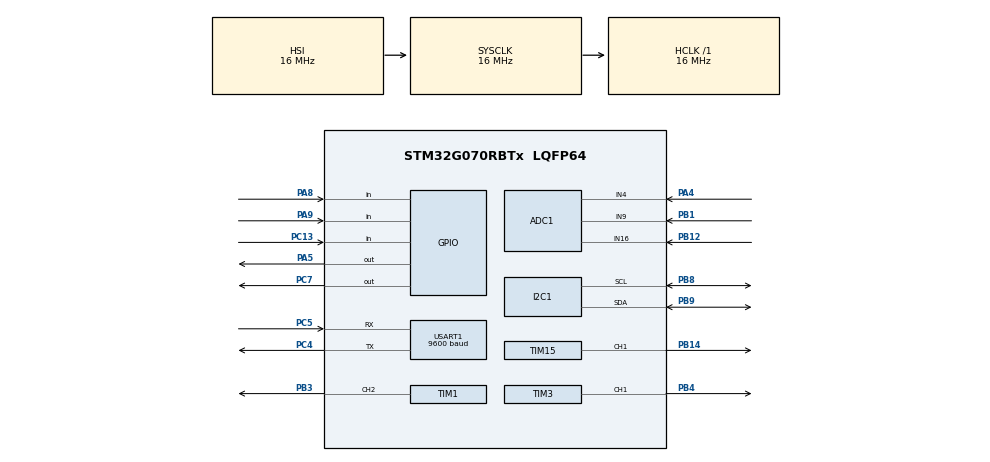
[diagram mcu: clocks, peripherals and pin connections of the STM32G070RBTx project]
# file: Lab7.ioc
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ADC1.DiscontinuousConvMode=ENABLE
ADC1.NbrOfConversion=1
ADC1.NbrOfConversionFlag=0
ADC1.SelectedChannel=ADC_CHANNEL_4|ADC_CHANNEL_9|ADC_CHANNEL_16
ADC1.Sequencer=NOT_FULLY_CONFIGURABLE
ADC1.master=1
Mcu.Family=STM32G0
Mcu.Name=STM32G070RBTx
Mcu.Package=LQFP64
NVIC.ADC1_IRQn=true\:0\:0\:false\:false\:true\:true\:true
NVIC.USART1_IRQn=true\:0\:0\:false\:false\:true\:true\:true
PA4.Mode=IN4
PA4.Signal=ADC1_IN4
PA5.Signal=GPIO_Output
PA8.Signal=GPIO_Input
PA9.Signal=GPIO_Input
PB1.Mode=IN9
PB1.Signal=ADC1_IN9
PB12.Mode=IN16
PB12.Signal=ADC1_IN16
PB14.Signal=S_TIM15_CH1
PB3.Signal=S_TIM1_CH2
PB4.Signal=S_TIM3_CH1
PB8.Mode=I2C
PB8.Signal=I2C1_SCL
PB9.Mode=I2C
PB9.Signal=I2C1_SDA
PC13.Signal=GPIO_Input
PC4.Mode=Asynchronous
PC4.Signal=USART1_TX
PC5.Mode=Asynchronous
PC5.Signal=USART1_RX
PC7.Signal=GPIO_Output
ProjectManager.HeapSize=0x200
ProjectManager.StackSize=0x400
ProjectManager.TargetToolchain=EWARM V8.32
RCC.AHBFreq_Value=16000000
RCC.CortexFreq_Value=16000000
RCC.EXTERNAL_CLOCK_VALUE=48000
RCC.HCLKFreq_Value=16000000
RCC.HSE_VALUE=8000000
RCC.HSI_VALUE=16000000
RCC.LSE_VALUE=32768
RCC.SYSCLKFreq_VALUE=16000000
RCC.VCOOutputFreq_Value=128000000
SH.S_TIM15_CH1.0=TIM15_CH1,PWM Generation1 CH1
SH.S_TIM1_CH2.0=TIM1_CH2,PWM Generation2 CH2
SH.S_TIM3_CH1.0=TIM3_CH1,PWM Generation1 CH1
TIM1.Channel-PWM\ Generation2\ CH2=TIM_CHANNEL_2
TIM15.Channel-PWM\ Generation1\ CH1=TIM_CHANNEL_1
TIM3.Channel-PWM\ Generation1\ CH1=TIM_CHANNEL_1
USART1.BaudRate=9600
USART1.VirtualMode-Asynchronous=VM_ASYNC
VP_SYS_VS_DBSignals.Mode=DisableDeadBatterySignals
VP_TIM15_VS_ClockSourceINT.Mode=Internal
VP_TIM1_VS_ClockSourceINT.Mode=Internal
VP_TIM3_VS_ClockSourceINT.Mode=Internal
board=custom

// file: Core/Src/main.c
/* USER CODE BEGIN Header */
/**
  ******************************************************************************
  * @file           : main.c
  * @brief          : Main program body
  ******************************************************************************
  * @attention
  *
  * <h2><center>&copy; Copyright (c) 2021 STMicroelectronics.
  * All rights reserved.</center></h2>
  *
  * This software component is licensed by ST under BSD 3-Clause license,
  * the "License"; You may not use this file except in compliance with the
  * License. You may obtain a copy of the License at:
  *                        opensource.org/licenses/BSD-3-Clause
  *
  ******************************************************************************
  */
/* USER CODE END Header */
#include "main.h"

/* USER CODE BEGIN Includes */
#include "KeyboardHoldRepeat.h"
#include "waveform_16.h"
#include "serial.h"
#include "serial_user.h"
#include "fonts.h"
#include "ssd1306.h"
#include "ux_manager.h"
#include "Thermistor.h"

/* USER CODE END Includes */

ADC_HandleTypeDef hadc1;

I2C_HandleTypeDef hi2c1;

TIM_HandleTypeDef htim1;
TIM_HandleTypeDef htim3;
TIM_HandleTypeDef htim15;

UART_HandleTypeDef huart1;

/* USER CODE BEGIN PV */
// scheduler stuff
extern uint8_t ten_mS_Flag;
extern uint8_t twentyfive_mS_Flag;
extern uint8_t hundred_mS_Flag;
extern uint8_t one_S_Flag;
#define FIVE_SEC_SEED 5
uint8_t five_S_Counter = FIVE_SEC_SEED;

// LED Control
TIM_OC_InitTypeDef rConfigOC = {0}; // timer 1
TIM_OC_InitTypeDef gConfigOC = {0}; // timer 3
TIM_OC_InitTypeDef bConfigOC = {0}; // timer 15

#define LED_RAMP_TABLE half_sine_table_16_256
//#define LED_RAMP_TABLE linear_ramp_table_16_256
//#define LED_RAMP_TABLE triangle_wave_table_16_256
#define R_INDEX_START 0
#define G_INDEX_START 86
#define B_INDEX_START 172
uint8_t rIndex = R_INDEX_START;
uint8_t gIndex = G_INDEX_START;
uint8_t bIndex = B_INDEX_START;
uint8_t rampRed = true;
uint8_t rampGreen = true;
uint8_t rampBlue = true;
uint16_t ledLevel = 0;
uint8_t changeLeds = false;
uint8_t skipNumber = 8;

// Keyboard
uint8_t keyCode = NO_KEY_PRESSED;

// Display
uint8_t ms200 = false;

// ADC
#define NUMBER_OF_ADC_CHANNELS 3
uint16_t adcResults[NUMBER_OF_ADC_CHANNELS];                                              // The locations for the ADC channels
uint32_t adcChannelNo[NUMBER_OF_ADC_CHANNELS] = {ADC_CHANNEL_9, ADC_CHANNEL_4, ADC_CHANNEL_16}; // The ADC channel numbers
ADC_ChannelConfTypeDef gAdcConfig = {0};                                                        // The structure for updating the ADC channel number
uint8_t adcChanIndex = 0;                                                                       // State machine variable for reading the ADC (shared with interrupt)

// Thermistor
int16_t thTempInC;

/* USER CODE END PV */

void SystemClock_Config(void);
static void MX_GPIO_Init(void);
static void MX_ADC1_Init(void);
static void MX_TIM1_Init(void);
static void MX_TIM3_Init(void);
static void MX_TIM15_Init(void);
static void MX_USART1_UART_Init(void);
static void MX_I2C1_Init(void);
/* USER CODE BEGIN PFP */
void InitValuesPWM(void);
void SetRedLedLevel(uint16_t r_level);
void SetGreenLedLevel(uint16_t g_level);
void SetBlueLedLevel(uint16_t b_level);
/* USER CODE END PFP */

int main(void)
{

  /* MCU Configuration--------------------------------------------------------*/

  /* Reset of all peripherals, Initializes the Flash interface and the Systick. */
  HAL_Init();

  /* Configure the system clock */
  SystemClock_Config();

  /* Initialize all configured peripherals */
  MX_GPIO_Init();
  MX_ADC1_Init();
  MX_TIM1_Init();
  MX_TIM3_Init();
  MX_TIM15_Init();
  MX_USART1_UART_Init();
  MX_I2C1_Init();
  /* USER CODE BEGIN 2 */

  // This was messing up the button inputs. There is an internal resistive
  // connection (on this part only) between some IO pins and this turns it off
  // get rid of the pulldowns/crosswire from reset
  HAL_SYSCFG_StrobeDBattpinsConfig(SYSCFG_UCPD1_STROBE);

  //  Set Up ADC
  gAdcConfig.Channel = ADC_CHANNEL_9;
  gAdcConfig.Rank = ADC_REGULAR_RANK_1;
  gAdcConfig.SamplingTime = ADC_SAMPLINGTIME_COMMON_1;

  // UART related init
  HAL_UART_Transmit(&huart1,"Mornin'!\r\n", 10, 1000); // this tests the UART functionalit

  LL_USART_EnableIT_RXNE_RXFNE(USART1); // this line turns on the UART receive interrupt.

  SendString("\r\nBongiorno!\r\n", 14, StripZeros, AddCRLF);  // this function cal tests the transmit UART interrupt.

  // PWM realted init
  void InitValuesPWM(void);

  HAL_TIM_PWM_Start_IT(&htim15, TIM_CHANNEL_1);
  HAL_TIM_PWM_Start_IT(&htim3, TIM_CHANNEL_1);
  HAL_TIM_PWM_Start_IT(&htim1, TIM_CHANNEL_2);

  // Display related init
  SSD1306_Init();  // initialise

  SSD1306_Clear();
  SSD1306_GotoXY (0,0);
  SSD1306_Puts ("Good Moring!", &Font_11x18, SSD1306_COLOR_WHITE);

  SSD1306_GotoXY (10,20);
  SSD1306_Puts ("22.3", &Font_16x26, SSD1306_COLOR_WHITE);

  SSD1306_UpdateScreen();

  HAL_Delay (2000);

  SwitchScreens(MAIN);

  gAdcConfig.Channel = ADC_CHANNEL_9;
  gAdcConfig.Rank = ADC_REGULAR_RANK_1;
  gAdcConfig.SamplingTime = ADC_SAMPLINGTIME_COMMON_1;

  /* USER CODE END 2 */

  /* Infinite loop */
  /* USER CODE BEGIN WHILE */
  while (1)
  {
    //---------------------------------
    // 10mS Tasks
    if (ten_mS_Flag) {
      ten_mS_Flag = false;

    }  // end of 10mS Tasks
    //---------------------------------

    //---------------------------------
    // 25mS Tasks
    if (twentyfive_mS_Flag) {
      twentyfive_mS_Flag = false;

      keyCode = ScanKeyboard();
      DebounceKeyCode(keyCode);

      // If we've gotten a valid debounced keyCode, process it
      if (processKeyCode == true) {
        ProcessKeyCodeInContext(keyCode);
      }

      if (adcChanIndex >= NUMBER_OF_ADC_CHANNELS)
        adcChanIndex = 0;                         // Note, this is incremented in the interrupt after conversion so it is
                                                  // to the correct index when the interrupt fires...
                                                  // Channels: CH1 - CJ; CH4 - TC
      gAdcConfig.Channel = adcChannelNo[adcChanIndex];

      HAL_ADC_ConfigChannel(&hadc1, &gAdcConfig);
      HAL_ADC_Start_IT(&hadc1);

    }  // end of 25mS Tasks
    //---------------------------------

    //---------------------------------
    // 100mS Tasks
    if (hundred_mS_Flag) {
      hundred_mS_Flag = false;

      if (rampRed == true) {
        SetRedLedLevel(LED_RAMP_TABLE[rIndex]);
        rIndex += skipNumber;
      }

      if (rampGreen == true) {
        SetGreenLedLevel(LED_RAMP_TABLE[gIndex]);
        gIndex += skipNumber;
      }

      if (rampBlue == true) {
        SetBlueLedLevel(LED_RAMP_TABLE[bIndex]);
        bIndex += skipNumber;
      }

      ms200 ^= 1;
      if (ms200 == true) {
        UpdateScreenValues();
      }

    }  // end of 100mS Tasks
    //---------------------------------

    //---------------------------------
    // 1 Sec Tasks
    if (one_S_Flag) {
      one_S_Flag = false;

      counter.data += 3.2;
      if (counter.data > 48) {
        counter.data = 0;
      }

      thTempInC = ThermCounts2DegC(adcResults[2]);

    } // end of 1Sec Tasks
    //---------------------------------

    //---------------------------------
    // Every time through the loop

    // end Every time through the loop
    //---------------------------------

    /* USER CODE END WHILE */

  }
}

void SystemClock_Config(void)
{
  RCC_OscInitTypeDef RCC_OscInitStruct = {0};
  RCC_ClkInitTypeDef RCC_ClkInitStruct = {0};
  RCC_PeriphCLKInitTypeDef PeriphClkInit = {0};

  /** Configure the main internal regulator output voltage
  */
  HAL_PWREx_ControlVoltageScaling(PWR_REGULATOR_VOLTAGE_SCALE1);
  /** Initializes the RCC Oscillators according to the specified parameters
  * in the RCC_OscInitTypeDef structure.
  */
  RCC_OscInitStruct.OscillatorType = RCC_OSCILLATORTYPE_HSI;
  RCC_OscInitStruct.HSIState = RCC_HSI_ON;
  RCC_OscInitStruct.HSIDiv = RCC_HSI_DIV1;
  RCC_OscInitStruct.HSICalibrationValue = RCC_HSICALIBRATION_DEFAULT;
  RCC_OscInitStruct.PLL.PLLState = RCC_PLL_NONE;
  if (HAL_RCC_OscConfig(&RCC_OscInitStruct) != HAL_OK)
  {
    Error_Handler();
  }
  /** Initializes the CPU, AHB and APB buses clocks
  */
  RCC_ClkInitStruct.ClockType = RCC_CLOCKTYPE_HCLK|RCC_CLOCKTYPE_SYSCLK
                              |RCC_CLOCKTYPE_PCLK1;
  RCC_ClkInitStruct.SYSCLKSource = RCC_SYSCLKSOURCE_HSI;
  RCC_ClkInitStruct.AHBCLKDivider = RCC_SYSCLK_DIV1;
  RCC_ClkInitStruct.APB1CLKDivider = RCC_HCLK_DIV1;

  if (HAL_RCC_ClockConfig(&RCC_ClkInitStruct, FLASH_LATENCY_0) != HAL_OK)
  {
    Error_Handler();
  }
  /** Initializes the peripherals clocks
  */
  PeriphClkInit.PeriphClockSelection = RCC_PERIPHCLK_USART1|RCC_PERIPHCLK_I2C1
                              |RCC_PERIPHCLK_ADC;
  PeriphClkInit.Usart1ClockSelection = RCC_USART1CLKSOURCE_PCLK1;
  PeriphClkInit.I2c1ClockSelection = RCC_I2C1CLKSOURCE_PCLK1;
  PeriphClkInit.AdcClockSelection = RCC_ADCCLKSOURCE_SYSCLK;
  if (HAL_RCCEx_PeriphCLKConfig(&PeriphClkInit) != HAL_OK)
  {
    Error_Handler();
  }
}

static void MX_ADC1_Init(void)
{

  ADC_ChannelConfTypeDef sConfig = {0};

  /** Configure the global features of the ADC (Clock, Resolution, Data Alignment and number of conversion)
  */
  hadc1.Instance = ADC1;
  hadc1.Init.ClockPrescaler = ADC_CLOCK_SYNC_PCLK_DIV2;
  hadc1.Init.Resolution = ADC_RESOLUTION_12B;
  hadc1.Init.DataAlign = ADC_DATAALIGN_RIGHT;
  hadc1.Init.ScanConvMode = ADC_SCAN_SEQ_FIXED;
  hadc1.Init.EOCSelection = ADC_EOC_SINGLE_CONV;
  hadc1.Init.LowPowerAutoWait = DISABLE;
  hadc1.Init.LowPowerAutoPowerOff = DISABLE;
  hadc1.Init.ContinuousConvMode = DISABLE;
  hadc1.Init.NbrOfConversion = 1;
  hadc1.Init.DiscontinuousConvMode = ENABLE;
  hadc1.Init.ExternalTrigConv = ADC_SOFTWARE_START;
  hadc1.Init.ExternalTrigConvEdge = ADC_EXTERNALTRIGCONVEDGE_NONE;
  hadc1.Init.DMAContinuousRequests = DISABLE;
  hadc1.Init.Overrun = ADC_OVR_DATA_PRESERVED;
  hadc1.Init.SamplingTimeCommon1 = ADC_SAMPLETIME_1CYCLE_5;
  hadc1.Init.OversamplingMode = DISABLE;
  hadc1.Init.TriggerFrequencyMode = ADC_TRIGGER_FREQ_HIGH;
  if (HAL_ADC_Init(&hadc1) != HAL_OK)
  {
    Error_Handler();
  }
  /** Configure Regular Channel
  */
  sConfig.Channel = ADC_CHANNEL_4;
  sConfig.Rank = ADC_RANK_CHANNEL_NUMBER;
  if (HAL_ADC_ConfigChannel(&hadc1, &sConfig) != HAL_OK)
  {
    Error_Handler();
  }
  /** Configure Regular Channel
  */
  sConfig.Channel = ADC_CHANNEL_9;
  if (HAL_ADC_ConfigChannel(&hadc1, &sConfig) != HAL_OK)
  {
    Error_Handler();
  }
  /** Configure Regular Channel
  */
  sConfig.Channel = ADC_CHANNEL_16;
  if (HAL_ADC_ConfigChannel(&hadc1, &sConfig) != HAL_OK)
  {
    Error_Handler();
  }

}

static void MX_I2C1_Init(void)
{

  hi2c1.Instance = I2C1;
  hi2c1.Init.Timing = 0x00303D5B;
  hi2c1.Init.OwnAddress1 = 0;
  hi2c1.Init.AddressingMode = I2C_ADDRESSINGMODE_7BIT;
  hi2c1.Init.DualAddressMode = I2C_DUALADDRESS_DISABLE;
  hi2c1.Init.OwnAddress2 = 0;
  hi2c1.Init.OwnAddress2Masks = I2C_OA2_NOMASK;
  hi2c1.Init.GeneralCallMode = I2C_GENERALCALL_DISABLE;
  hi2c1.Init.NoStretchMode = I2C_NOSTRETCH_DISABLE;
  if (HAL_I2C_Init(&hi2c1) != HAL_OK)
  {
    Error_Handler();
  }
  /** Configure Analogue filter
  */
  if (HAL_I2CEx_ConfigAnalogFilter(&hi2c1, I2C_ANALOGFILTER_ENABLE) != HAL_OK)
  {
    Error_Handler();
  }
  /** Configure Digital filter
  */
  if (HAL_I2CEx_ConfigDigitalFilter(&hi2c1, 0) != HAL_OK)
  {
    Error_Handler();
  }

}

static void MX_TIM1_Init(void)
{

  TIM_ClockConfigTypeDef sClockSourceConfig = {0};
  TIM_MasterConfigTypeDef sMasterConfig = {0};
  TIM_OC_InitTypeDef sConfigOC = {0};
  TIM_BreakDeadTimeConfigTypeDef sBreakDeadTimeConfig = {0};

  htim1.Instance = TIM1;
  htim1.Init.Prescaler = 0;
  htim1.Init.CounterMode = TIM_COUNTERMODE_UP;
  htim1.Init.Period = 65535;
  htim1.Init.ClockDivision = TIM_CLOCKDIVISION_DIV1;
  htim1.Init.RepetitionCounter = 0;
  htim1.Init.AutoReloadPreload = TIM_AUTORELOAD_PRELOAD_DISABLE;
  if (HAL_TIM_Base_Init(&htim1) != HAL_OK)
  {
    Error_Handler();
  }
  sClockSourceConfig.ClockSource = TIM_CLOCKSOURCE_INTERNAL;
  if (HAL_TIM_ConfigClockSource(&htim1, &sClockSourceConfig) != HAL_OK)
  {
    Error_Handler();
  }
  if (HAL_TIM_PWM_Init(&htim1) != HAL_OK)
  {
    Error_Handler();
  }
  sMasterConfig.MasterOutputTrigger = TIM_TRGO_RESET;
  sMasterConfig.MasterOutputTrigger2 = TIM_TRGO2_RESET;
  sMasterConfig.MasterSlaveMode = TIM_MASTERSLAVEMODE_DISABLE;
  if (HAL_TIMEx_MasterConfigSynchronization(&htim1, &sMasterConfig) != HAL_OK)
  {
    Error_Handler();
  }
  sConfigOC.OCMode = TIM_OCMODE_PWM1;
  sConfigOC.Pulse = 0;
  sConfigOC.OCPolarity = TIM_OCPOLARITY_HIGH;
  sConfigOC.OCNPolarity = TIM_OCNPOLARITY_HIGH;
  sConfigOC.OCFastMode = TIM_OCFAST_DISABLE;
  sConfigOC.OCIdleState = TIM_OCIDLESTATE_RESET;
  sConfigOC.OCNIdleState = TIM_OCNIDLESTATE_RESET;
  if (HAL_TIM_PWM_ConfigChannel(&htim1, &sConfigOC, TIM_CHANNEL_2) != HAL_OK)
  {
    Error_Handler();
  }
  sBreakDeadTimeConfig.OffStateRunMode = TIM_OSSR_DISABLE;
  sBreakDeadTimeConfig.OffStateIDLEMode = TIM_OSSI_DISABLE;
  sBreakDeadTimeConfig.LockLevel = TIM_LOCKLEVEL_OFF;
  sBreakDeadTimeConfig.DeadTime = 0;
  sBreakDeadTimeConfig.BreakState = TIM_BREAK_DISABLE;
  sBreakDeadTimeConfig.BreakPolarity = TIM_BREAKPOLARITY_HIGH;
  sBreakDeadTimeConfig.BreakFilter = 0;
  sBreakDeadTimeConfig.BreakAFMode = TIM_BREAK_AFMODE_INPUT;
  sBreakDeadTimeConfig.Break2State = TIM_BREAK2_DISABLE;
  sBreakDeadTimeConfig.Break2Polarity = TIM_BREAK2POLARITY_HIGH;
  sBreakDeadTimeConfig.Break2Filter = 0;
  sBreakDeadTimeConfig.Break2AFMode = TIM_BREAK_AFMODE_INPUT;
  sBreakDeadTimeConfig.AutomaticOutput = TIM_AUTOMATICOUTPUT_DISABLE;
  if (HAL_TIMEx_ConfigBreakDeadTime(&htim1, &sBreakDeadTimeConfig) != HAL_OK)
  {
    Error_Handler();
  }
  HAL_TIM_MspPostInit(&htim1);

}

static void MX_TIM3_Init(void)
{

  TIM_ClockConfigTypeDef sClockSourceConfig = {0};
  TIM_MasterConfigTypeDef sMasterConfig = {0};
  TIM_OC_InitTypeDef sConfigOC = {0};

  htim3.Instance = TIM3;
  htim3.Init.Prescaler = 0;
  htim3.Init.CounterMode = TIM_COUNTERMODE_UP;
  htim3.Init.Period = 65535;
  htim3.Init.ClockDivision = TIM_CLOCKDIVISION_DIV1;
  htim3.Init.AutoReloadPreload = TIM_AUTORELOAD_PRELOAD_DISABLE;
  if (HAL_TIM_Base_Init(&htim3) != HAL_OK)
  {
    Error_Handler();
  }
  sClockSourceConfig.ClockSource = TIM_CLOCKSOURCE_INTERNAL;
  if (HAL_TIM_ConfigClockSource(&htim3, &sClockSourceConfig) != HAL_OK)
  {
    Error_Handler();
  }
  if (HAL_TIM_PWM_Init(&htim3) != HAL_OK)
  {
    Error_Handler();
  }
  sMasterConfig.MasterOutputTrigger = TIM_TRGO_RESET;
  sMasterConfig.MasterSlaveMode = TIM_MASTERSLAVEMODE_DISABLE;
  if (HAL_TIMEx_MasterConfigSynchronization(&htim3, &sMasterConfig) != HAL_OK)
  {
    Error_Handler();
  }
  sConfigOC.OCMode = TIM_OCMODE_PWM1;
  sConfigOC.Pulse = 0;
  sConfigOC.OCPolarity = TIM_OCPOLARITY_HIGH;
  sConfigOC.OCFastMode = TIM_OCFAST_DISABLE;
  if (HAL_TIM_PWM_ConfigChannel(&htim3, &sConfigOC, TIM_CHANNEL_1) != HAL_OK)
  {
    Error_Handler();
  }
  HAL_TIM_MspPostInit(&htim3);

}

static void MX_TIM15_Init(void)
{

  TIM_ClockConfigTypeDef sClockSourceConfig = {0};
  TIM_MasterConfigTypeDef sMasterConfig = {0};
  TIM_OC_InitTypeDef sConfigOC = {0};
  TIM_BreakDeadTimeConfigTypeDef sBreakDeadTimeConfig = {0};

  htim15.Instance = TIM15;
  htim15.Init.Prescaler = 0;
  htim15.Init.CounterMode = TIM_COUNTERMODE_UP;
  htim15.Init.Period = 65535;
  htim15.Init.ClockDivision = TIM_CLOCKDIVISION_DIV1;
  htim15.Init.RepetitionCounter = 0;
  htim15.Init.AutoReloadPreload = TIM_AUTORELOAD_PRELOAD_DISABLE;
  if (HAL_TIM_Base_Init(&htim15) != HAL_OK)
  {
    Error_Handler();
  }
  sClockSourceConfig.ClockSource = TIM_CLOCKSOURCE_INTERNAL;
  if (HAL_TIM_ConfigClockSource(&htim15, &sClockSourceConfig) != HAL_OK)
  {
    Error_Handler();
  }
  if (HAL_TIM_PWM_Init(&htim15) != HAL_OK)
  {
    Error_Handler();
  }
  sMasterConfig.MasterOutputTrigger = TIM_TRGO_RESET;
  sMasterConfig.MasterSlaveMode = TIM_MASTERSLAVEMODE_DISABLE;
  if (HAL_TIMEx_MasterConfigSynchronization(&htim15, &sMasterConfig) != HAL_OK)
  {
    Error_Handler();
  }
  sConfigOC.OCMode = TIM_OCMODE_PWM1;
  sConfigOC.Pulse = 0;
  sConfigOC.OCPolarity = TIM_OCPOLARITY_HIGH;
  sConfigOC.OCNPolarity = TIM_OCNPOLARITY_HIGH;
  sConfigOC.OCFastMode = TIM_OCFAST_DISABLE;
  sConfigOC.OCIdleState = TIM_OCIDLESTATE_RESET;
  sConfigOC.OCNIdleState = TIM_OCNIDLESTATE_RESET;
  if (HAL_TIM_PWM_ConfigChannel(&htim15, &sConfigOC, TIM_CHANNEL_1) != HAL_OK)
  {
    Error_Handler();
  }
  sBreakDeadTimeConfig.OffStateRunMode = TIM_OSSR_DISABLE;
  sBreakDeadTimeConfig.OffStateIDLEMode = TIM_OSSI_DISABLE;
  sBreakDeadTimeConfig.LockLevel = TIM_LOCKLEVEL_OFF;
  sBreakDeadTimeConfig.DeadTime = 0;
  sBreakDeadTimeConfig.BreakState = TIM_BREAK_DISABLE;
  sBreakDeadTimeConfig.BreakPolarity = TIM_BREAKPOLARITY_HIGH;
  sBreakDeadTimeConfig.BreakFilter = 0;
  sBreakDeadTimeConfig.AutomaticOutput = TIM_AUTOMATICOUTPUT_DISABLE;
  if (HAL_TIMEx_ConfigBreakDeadTime(&htim15, &sBreakDeadTimeConfig) != HAL_OK)
  {
    Error_Handler();
  }
  HAL_TIM_MspPostInit(&htim15);

}

static void MX_USART1_UART_Init(void)
{

  huart1.Instance = USART1;
  huart1.Init.BaudRate = 9600;
  huart1.Init.WordLength = UART_WORDLENGTH_8B;
  huart1.Init.StopBits = UART_STOPBITS_1;
  huart1.Init.Parity = UART_PARITY_NONE;
  huart1.Init.Mode = UART_MODE_TX_RX;
  huart1.Init.HwFlowCtl = UART_HWCONTROL_NONE;
  huart1.Init.OverSampling = UART_OVERSAMPLING_16;
  huart1.Init.OneBitSampling = UART_ONE_BIT_SAMPLE_DISABLE;
  huart1.Init.ClockPrescaler = UART_PRESCALER_DIV1;
  huart1.AdvancedInit.AdvFeatureInit = UART_ADVFEATURE_NO_INIT;
  if (HAL_UART_Init(&huart1) != HAL_OK)
  {
    Error_Handler();
  }
  if (HAL_UARTEx_SetTxFifoThreshold(&huart1, UART_TXFIFO_THRESHOLD_1_8) != HAL_OK)
  {
    Error_Handler();
  }
  if (HAL_UARTEx_SetRxFifoThreshold(&huart1, UART_RXFIFO_THRESHOLD_1_8) != HAL_OK)
  {
    Error_Handler();
  }
  if (HAL_UARTEx_DisableFifoMode(&huart1) != HAL_OK)
  {
    Error_Handler();
  }

}

static void MX_GPIO_Init(void)
{
  GPIO_InitTypeDef GPIO_InitStruct = {0};

  /* GPIO Ports Clock Enable */
  __HAL_RCC_GPIOC_CLK_ENABLE();
  __HAL_RCC_GPIOA_CLK_ENABLE();
  __HAL_RCC_GPIOB_CLK_ENABLE();

  /*Configure GPIO pin Output Level */
  HAL_GPIO_WritePin(GPIOA, GPIO_PIN_5, GPIO_PIN_RESET);

  /*Configure GPIO pin Output Level */
  HAL_GPIO_WritePin(GPIOC, GPIO_PIN_7, GPIO_PIN_RESET);

  /*Configure GPIO pin : PC13 */
  GPIO_InitStruct.Pin = GPIO_PIN_13;
  GPIO_InitStruct.Mode = GPIO_MODE_INPUT;
  GPIO_InitStruct.Pull = GPIO_NOPULL;
  HAL_GPIO_Init(GPIOC, &GPIO_InitStruct);

  /*Configure GPIO pin : PA5 */
  GPIO_InitStruct.Pin = GPIO_PIN_5;
  GPIO_InitStruct.Mode = GPIO_MODE_OUTPUT_PP;
  GPIO_InitStruct.Pull = GPIO_NOPULL;
  GPIO_InitStruct.Speed = GPIO_SPEED_FREQ_LOW;
  HAL_GPIO_Init(GPIOA, &GPIO_InitStruct);

  /*Configure GPIO pins : PA8 PA9 */
  GPIO_InitStruct.Pin = GPIO_PIN_8|GPIO_PIN_9;
  GPIO_InitStruct.Mode = GPIO_MODE_INPUT;
  GPIO_InitStruct.Pull = GPIO_NOPULL;
  HAL_GPIO_Init(GPIOA, &GPIO_InitStruct);

  /*Configure GPIO pin : PC7 */
  GPIO_InitStruct.Pin = GPIO_PIN_7;
  GPIO_InitStruct.Mode = GPIO_MODE_OUTPUT_PP;
  GPIO_InitStruct.Pull = GPIO_NOPULL;
  GPIO_InitStruct.Speed = GPIO_SPEED_FREQ_LOW;
  HAL_GPIO_Init(GPIOC, &GPIO_InitStruct);

}

/* USER CODE BEGIN 4 */
void InitValuesPWM(void)
{
  // timer 1
  rConfigOC.OCMode = TIM_OCMODE_PWM1;
  rConfigOC.Pulse = 0;
  rConfigOC.OCPolarity = TIM_OCPOLARITY_HIGH;
  rConfigOC.OCNPolarity = TIM_OCNPOLARITY_HIGH;
  rConfigOC.OCFastMode = TIM_OCFAST_DISABLE;
  rConfigOC.OCIdleState = TIM_OCIDLESTATE_RESET;
  rConfigOC.OCNIdleState = TIM_OCNIDLESTATE_RESET;

  // timer 3
  gConfigOC.OCMode = TIM_OCMODE_PWM1;
  gConfigOC.Pulse = 0;
  gConfigOC.OCPolarity = TIM_OCPOLARITY_HIGH;
  gConfigOC.OCFastMode = TIM_OCFAST_DISABLE;

  // timer 15
  bConfigOC.OCMode = TIM_OCMODE_PWM1;
  bConfigOC.Pulse = 0;
  bConfigOC.OCPolarity = TIM_OCPOLARITY_HIGH;
  bConfigOC.OCNPolarity = TIM_OCNPOLARITY_HIGH;
  bConfigOC.OCFastMode = TIM_OCFAST_DISABLE;
  bConfigOC.OCIdleState = TIM_OCIDLESTATE_RESET;
  bConfigOC.OCNIdleState = TIM_OCNIDLESTATE_RESET;

}

void SetRedLedLevel(uint16_t r_level)
{
  TIM_OC_InitTypeDef sConfigOC = {0};

  sConfigOC.OCMode = TIM_OCMODE_PWM1;
  sConfigOC.Pulse = r_level;
  sConfigOC.OCPolarity = TIM_OCPOLARITY_HIGH;
  sConfigOC.OCNPolarity = TIM_OCNPOLARITY_HIGH;
  sConfigOC.OCFastMode = TIM_OCFAST_DISABLE;
  sConfigOC.OCIdleState = TIM_OCIDLESTATE_RESET;
  sConfigOC.OCNIdleState = TIM_OCNIDLESTATE_RESET;

  HAL_TIM_PWM_Stop(&htim1, TIM_CHANNEL_2);
  HAL_TIM_PWM_ConfigChannel(&htim1, &sConfigOC, TIM_CHANNEL_2);
  HAL_TIM_PWM_Start(&htim1, TIM_CHANNEL_2);
}

void SetGreenLedLevel(uint16_t g_level)
{
  TIM_OC_InitTypeDef sConfigOC = {0};

  sConfigOC.OCMode = TIM_OCMODE_PWM1;
  sConfigOC.Pulse = g_level;
  sConfigOC.OCPolarity = TIM_OCPOLARITY_HIGH;
  sConfigOC.OCFastMode = TIM_OCFAST_DISABLE;

  HAL_TIM_PWM_Stop(&htim3, TIM_CHANNEL_1);
  HAL_TIM_PWM_ConfigChannel(&htim3, &sConfigOC, TIM_CHANNEL_1);
  HAL_TIM_PWM_Start(&htim3, TIM_CHANNEL_1);
}

void SetBlueLedLevel(uint16_t b_level)
{
  TIM_OC_InitTypeDef sConfigOC = {0};

  sConfigOC.OCMode = TIM_OCMODE_PWM1;
  sConfigOC.Pulse = b_level;
  sConfigOC.OCPolarity = TIM_OCPOLARITY_HIGH;
  sConfigOC.OCNPolarity = TIM_OCNPOLARITY_HIGH;
  sConfigOC.OCFastMode = TIM_OCFAST_DISABLE;
  sConfigOC.OCIdleState = TIM_OCIDLESTATE_RESET;
  sConfigOC.OCNIdleState = TIM_OCNIDLESTATE_RESET;

  HAL_TIM_PWM_Stop(&htim15, TIM_CHANNEL_1);
  HAL_TIM_PWM_ConfigChannel(&htim15, &sConfigOC, TIM_CHANNEL_1);
  HAL_TIM_PWM_Start(&htim15, TIM_CHANNEL_1);
}

/* USER CODE END 4 */

void Error_Handler(void)
{
  __disable_irq();
  while (1)
  {
  }
}

/************************ (C) COPYRIGHT STMicroelectronics *****END OF FILE****/
